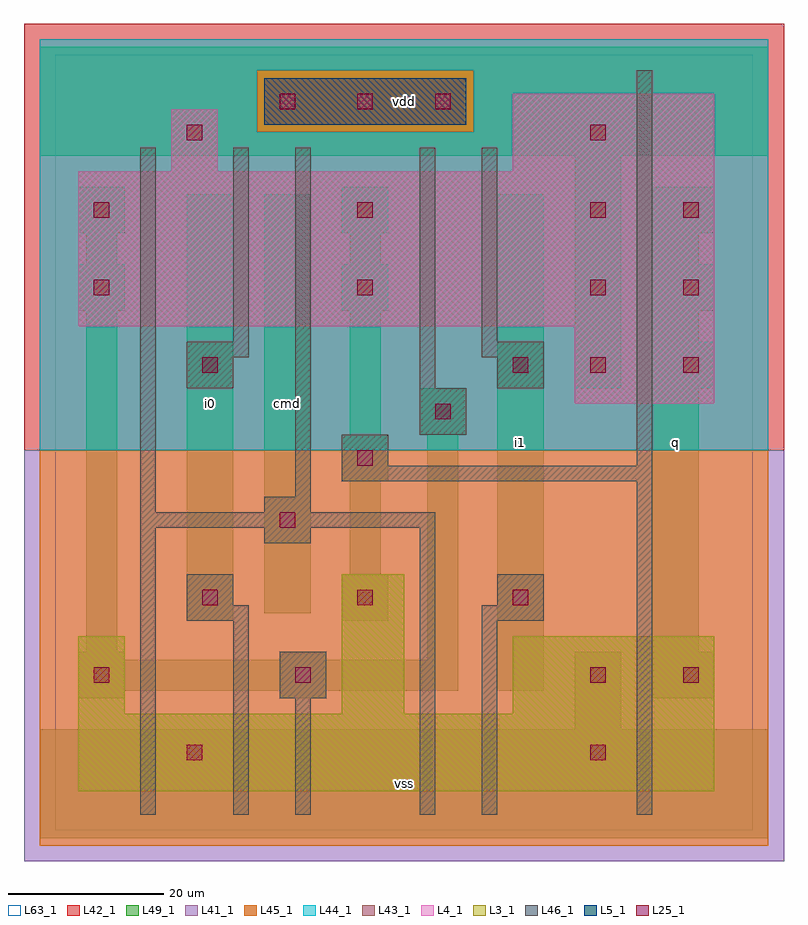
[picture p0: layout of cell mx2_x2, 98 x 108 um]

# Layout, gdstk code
import gdstk
lib = gdstk.Library(unit=1e-6, precision=1e-09)
def R(c, l, rs):  # rectangles x0, y0, x1, y1
    for r in rs: c.add(gdstk.rectangle(r[:2], r[2:], *l))
def A(c, l, x, y, w, h, nx, ny, dx, dy):  # array of equal rectangles
    R(c, l, [(x+i*dx, y+j*dy, x+i*dx+w, y+j*dy+h) for i in range(nx) for j in range(ny)])
L3_1 = (3, 1)
L4_1 = (4, 1)
L5_1 = (5, 1)
L25_1 = (25, 1)
L41_1 = (41, 1)
L42_1 = (42, 1)
L43_1 = (43, 1)
L44_1 = (44, 1)
L45_1 = (45, 1)
L46_1 = (46, 1)
L49_1 = (49, 1)
L63_1 = (63, 1)

mx2_x2 = lib.new_cell('mx2_x2')
R(mx2_x2, L3_1, [(3,5,85,15), (3,15,9,25), (37,15,45,33), (59,15,85,25)])
R(mx2_x2, L4_1, [(67,55,85,65), (3,65,85,85), (15,85,21,93), (59,85,85,95)])
R(mx2_x2, L5_1, [(27,91,53,97)])
A(mx2_x2, L25_1, 19, 29, 2, 2, 3, 1, 20, 0)
A(mx2_x2, L25_1, 69, 59, 2, 2, 1, 4, 0, 10)
A(mx2_x2, L25_1, 81, 59, 2, 2, 1, 3, 0, 10)
A(mx2_x2, L25_1, 29, 93, 2, 2, 3, 1, 10, 0)
R(mx2_x2, L25_1, [(17,9,19,11), (69,9,71,11), (5,19,7,21), (31,19,33,21), (69,19,71,21), (81,19,83,21), (29,39,31,41), (39,47,41,49), (49,53,51,55), (19,59,21,61), (59,59,61,61), (5,69,7,71), (39,69,41,71), (5,79,7,81), (39,79,41,81), (17,89,19,91)])
R(mx2_x2, L41_1, [(-4,-4,94,49)])
R(mx2_x2, L42_1, [(-4,49,94,104)])
R(mx2_x2, L43_1, [(3,5,85,15), (3,15,9,25), (37,15,45,33), (59,15,85,25), (67,55,85,65), (3,65,85,85), (15,85,21,93), (59,85,85,95), (27,91,53,97)])
R(mx2_x2, L44_1, [(-2,49,92,90), (-2,90,26,98), (54,90,92,98), (-2,98,92,102)])
R(mx2_x2, L45_1, [(-2,-2,92,49), (26,90,54,98)])
R(mx2_x2, L46_1, [(11,2,13,39), (23,2,25,27), (31,2,33,17), (47,2,49,39), (55,2,57,27), (75,2,77,45), (29,17,35,23), (17,27,25,29), (55,27,63,29), (17,29,23,33), (57,29,63,33), (27,37,33,39), (11,39,49,41), (11,41,13,88), (27,41,33,43), (31,43,33,88), (37,45,77,47), (37,47,43,51), (75,47,77,98), (47,51,53,57), (17,57,23,61), (47,57,49,88), (57,57,63,61), (17,61,25,63), (55,61,63,63), (23,63,25,88), (55,63,57,88)])
A(mx2_x2, L49_1, 77, 57, 8, 6, 1, 3, 0, 10)
R(mx2_x2, L49_1, [(-2,-1,92,13), (67,13,73,23), (3,17,9,18), (29,17,35,18), (77,17,85,23), (3,18,52,22), (57,18,63,82), (3,22,9,23), (29,22,35,23), (48,22,52,51), (4,23,8,67), (77,23,83,57), (17,27,23,82), (37,27,43,33), (27,28,33,82), (38,33,42,45), (37,45,43,51), (38,51,42,67), (47,51,53,57), (67,57,73,87), (77,63,83,67), (3,67,9,73), (37,67,43,73), (4,73,8,77), (38,73,42,77), (77,73,83,77), (3,77,9,83), (37,77,43,83), (-2,87,92,101)])
R(mx2_x2, L63_1, [(0,0,90,100)])
mx2_x2.add(gdstk.Label('i0', (20,55), layer=49, texttype=1))
mx2_x2.add(gdstk.Label('i0', (20,55), layer=49, texttype=1))
mx2_x2.add(gdstk.Label('cmd', (30,55), layer=49, texttype=1))
mx2_x2.add(gdstk.Label('cmd', (30,55), layer=49, texttype=1))
mx2_x2.add(gdstk.Label('vss', (45,6), layer=49, texttype=1))
mx2_x2.add(gdstk.Label('vss', (45,6), layer=49, texttype=1))
mx2_x2.add(gdstk.Label('i1', (60,50), layer=49, texttype=1))
mx2_x2.add(gdstk.Label('i1', (60,50), layer=49, texttype=1))
mx2_x2.add(gdstk.Label('vdd', (45,94), layer=49, texttype=1))
mx2_x2.add(gdstk.Label('vdd', (45,94), layer=49, texttype=1))
mx2_x2.add(gdstk.Label('q', (80,50), layer=49, texttype=1))
mx2_x2.add(gdstk.Label('q', (80,50), layer=49, texttype=1))

lib.write_gds('mx2_x2.gds')
